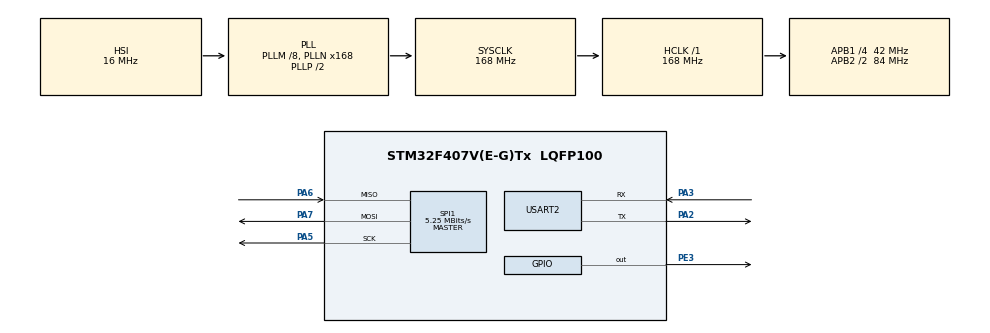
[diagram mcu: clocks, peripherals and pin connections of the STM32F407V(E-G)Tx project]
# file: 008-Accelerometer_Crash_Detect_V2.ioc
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Mcu.Family=STM32F4
Mcu.Name=STM32F407V(E-G)Tx
Mcu.Package=LQFP100
NVIC.PriorityGroup=NVIC_PRIORITYGROUP_0
PA2.Mode=Asynchronous
PA2.Signal=USART2_TX
PA3.Mode=Asynchronous
PA3.Signal=USART2_RX
PA5.Mode=Full_Duplex_Master
PA5.Signal=SPI1_SCK
PA6.Mode=Full_Duplex_Master
PA6.Signal=SPI1_MISO
PA7.Mode=Full_Duplex_Master
PA7.Signal=SPI1_MOSI
PE3.Signal=GPIO_Output
ProjectManager.HeapSize=0x200
ProjectManager.StackSize=0x400
ProjectManager.TargetToolchain=STM32CubeIDE
RCC.48MHZClocksFreq_Value=48000000
RCC.AHBFreq_Value=168000000
RCC.APB1CLKDivider=RCC_HCLK_DIV4
RCC.APB1Freq_Value=42000000
RCC.APB1TimFreq_Value=84000000
RCC.APB2CLKDivider=RCC_HCLK_DIV2
RCC.APB2Freq_Value=84000000
RCC.APB2TimFreq_Value=168000000
RCC.CortexFreq_Value=168000000
RCC.HCLKFreq_Value=168000000
RCC.HSE_VALUE=8000000
RCC.HSI_VALUE=16000000
RCC.PLLM=8
RCC.PLLN=168
RCC.PLLQ=7
RCC.SYSCLKFreq_VALUE=168000000
RCC.SYSCLKSource=RCC_SYSCLKSOURCE_PLLCLK
RCC.VCOOutputFreq_Value=336000000
SPI1.BaudRatePrescaler=SPI_BAUDRATEPRESCALER_16
SPI1.CLKPhase=SPI_PHASE_2EDGE
SPI1.CLKPolarity=SPI_POLARITY_HIGH
SPI1.CalculateBaudRate=5.25 MBits/s
SPI1.Direction=SPI_DIRECTION_2LINES
SPI1.Mode=SPI_MODE_MASTER
SPI1.VirtualType=VM_MASTER
USART2.VirtualMode=VM_ASYNC
board=STM32F407G-DISC1

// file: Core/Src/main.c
/* USER CODE BEGIN Header */
/**
  ******************************************************************************
  * @file           : main.c
  * @brief          : Main program body
  ******************************************************************************
  * @attention
  *
  * Copyright (c) 2025 STMicroelectronics.
  * All rights reserved.
  *
  * This software is licensed under terms that can be found in the LICENSE file
  * in the root directory of this software component.
  * If no LICENSE file comes with this software, it is provided AS-IS.
  *
  ******************************************************************************
  */
/* USER CODE END Header */
#include "main.h"

/* USER CODE BEGIN Includes */
#include<stdio.h>
#include<string.h>
#include<math.h>
/* USER CODE END Includes */

/* USER CODE BEGIN PTD */
#define ACC_CS_PORT GPIOE
#define ACC_CS_PIN  GPIO_PIN_3
#define LIS3DSH_WHO_AM_I_ADDR   0x0F
#define LIS3DSH_CTRL_REG4   0x20
#define LIS3DSH_OUT_X       0x29
#define LIS3DSH_OUT_Y       0x2B
#define LIS3DSH_OUT_Z       0x2D
#define LIS3DSH_SENS_2G   0.018f  // g per LSB
#define CRASH_THRESHOLD 1.5f   // 1.5 g threshold
#define BUZZER_PORT GPIOD
#define BUZZER_PIN  GPIO_PIN_12   // or whichever pin your buzzer/LED is connected

/* USER CODE END PTD */

SPI_HandleTypeDef hspi1;

UART_HandleTypeDef huart2;

void SystemClock_Config(void);
static void MX_GPIO_Init(void);
static void MX_SPI1_Init(void);
static void MX_USART2_UART_Init(void);

/* USER CODE BEGIN 0 */
void ACC_CS_LOW(void)  { HAL_GPIO_WritePin(ACC_CS_PORT, ACC_CS_PIN, GPIO_PIN_RESET); }
void ACC_CS_HIGH(void) { HAL_GPIO_WritePin(ACC_CS_PORT, ACC_CS_PIN, GPIO_PIN_SET); }

uint8_t SPI_Read(uint8_t reg) {
    uint8_t tx[2], rx[2];
    tx[0] = reg | 0x80;  // read
    tx[1] = 0x00;
    ACC_CS_LOW();
    HAL_SPI_TransmitReceive(&hspi1, tx, rx, 2, HAL_MAX_DELAY);
    ACC_CS_HIGH();
    return rx[1];
}

void SPI_Write(uint8_t reg, uint8_t data) {
    uint8_t tx[2];
    tx[0] = reg & 0x7F;  // write
    tx[1] = data;
    ACC_CS_LOW();
    HAL_SPI_Transmit(&hspi1, tx, 2, HAL_MAX_DELAY);
    ACC_CS_HIGH();
}

void Accelerometer_Init(void) {
    SPI_Write(LIS3DSH_CTRL_REG4, 0x67);
}

void Accelerometer_ReadAxes(int8_t *x, int8_t *y, int8_t *z) {
    *x = (int8_t)SPI_Read(LIS3DSH_OUT_X);
    *y = (int8_t)SPI_Read(LIS3DSH_OUT_Y);
    *z = (int8_t)SPI_Read(LIS3DSH_OUT_Z);
}

void Accelerometer_ReadAxes_g(float *xg, float *yg, float *zg) {
    int8_t x = (int8_t)SPI_Read(LIS3DSH_OUT_X);
    int8_t y = (int8_t)SPI_Read(LIS3DSH_OUT_Y);
    int8_t z = (int8_t)SPI_Read(LIS3DSH_OUT_Z);

    *xg = x * LIS3DSH_SENS_2G;
    *yg = y * LIS3DSH_SENS_2G;
    *zg = z * LIS3DSH_SENS_2G;
}

/* USER CODE END 0 */

int main(void)
{

  /* MCU Configuration--------------------------------------------------------*/

  /* Reset of all peripherals, Initializes the Flash interface and the Systick. */
  HAL_Init();

  /* Configure the system clock */
  SystemClock_Config();

  /* Initialize all configured peripherals */
  MX_GPIO_Init();
  MX_SPI1_Init();
  MX_USART2_UART_Init();
  /* USER CODE BEGIN 2 */
  char msg[64];
  uint8_t whoami;

  whoami = SPI_Read(LIS3DSH_WHO_AM_I_ADDR);
  sprintf(msg, "WHO_AM_I = 0x%02X\r\n", whoami);
  HAL_UART_Transmit(&huart2, (uint8_t*)msg, strlen(msg), HAL_MAX_DELAY);

  if (whoami == 0x3F) {
      sprintf(msg, "Detected: LIS3DSH Accelerometer\r\n");
  } else if (whoami == 0x3B) {
      sprintf(msg, "Detected: LIS302DL Accelerometer\r\n");
  } else {
      sprintf(msg, "Accelerometer not detected!\r\n");
  }
  HAL_UART_Transmit(&huart2, (uint8_t*)msg, strlen(msg), HAL_MAX_DELAY);

  int8_t x, y, z;
  float xg, yg, zg;

  /* USER CODE END 2 */

  /* Infinite loop */
  /* USER CODE BEGIN WHILE */
  while (1)
  {
	    Accelerometer_ReadAxes(&x, &y, &z);
	    Accelerometer_ReadAxes_g(&xg, &yg, &zg);

	    sprintf(msg, "X=%.2fg, Y=%.2fg, Z=%.2fg\r\n", xg, yg, zg);
	    HAL_UART_Transmit(&huart2, (uint8_t*)msg, strlen(msg), HAL_MAX_DELAY);

	    // Crash detection
	    if (fabs(xg) > CRASH_THRESHOLD || fabs(yg) > CRASH_THRESHOLD) {
	        HAL_GPIO_WritePin(BUZZER_PORT, BUZZER_PIN, GPIO_PIN_SET);   // buzzer ON
	        sprintf(msg, "CRASH DETECTED!\r\n");
	        HAL_UART_Transmit(&huart2, (uint8_t*)msg, strlen(msg), HAL_MAX_DELAY);
	    } else {
	        HAL_GPIO_WritePin(BUZZER_PORT, BUZZER_PIN, GPIO_PIN_RESET); // buzzer OFF
	    }

	    HAL_Delay(200);

    /* USER CODE END WHILE */

  }
}

void SystemClock_Config(void)
{
  RCC_OscInitTypeDef RCC_OscInitStruct = {0};
  RCC_ClkInitTypeDef RCC_ClkInitStruct = {0};

  /** Configure the main internal regulator output voltage
  */
  __HAL_RCC_PWR_CLK_ENABLE();
  __HAL_PWR_VOLTAGESCALING_CONFIG(PWR_REGULATOR_VOLTAGE_SCALE1);

  /** Initializes the RCC Oscillators according to the specified parameters
  * in the RCC_OscInitTypeDef structure.
  */
  RCC_OscInitStruct.OscillatorType = RCC_OSCILLATORTYPE_HSI;
  RCC_OscInitStruct.HSIState = RCC_HSI_ON;
  RCC_OscInitStruct.HSICalibrationValue = RCC_HSICALIBRATION_DEFAULT;
  RCC_OscInitStruct.PLL.PLLState = RCC_PLL_ON;
  RCC_OscInitStruct.PLL.PLLSource = RCC_PLLSOURCE_HSI;
  RCC_OscInitStruct.PLL.PLLM = 8;
  RCC_OscInitStruct.PLL.PLLN = 168;
  RCC_OscInitStruct.PLL.PLLP = RCC_PLLP_DIV2;
  RCC_OscInitStruct.PLL.PLLQ = 7;
  if (HAL_RCC_OscConfig(&RCC_OscInitStruct) != HAL_OK)
  {
    Error_Handler();
  }

  /** Initializes the CPU, AHB and APB buses clocks
  */
  RCC_ClkInitStruct.ClockType = RCC_CLOCKTYPE_HCLK|RCC_CLOCKTYPE_SYSCLK
                              |RCC_CLOCKTYPE_PCLK1|RCC_CLOCKTYPE_PCLK2;
  RCC_ClkInitStruct.SYSCLKSource = RCC_SYSCLKSOURCE_PLLCLK;
  RCC_ClkInitStruct.AHBCLKDivider = RCC_SYSCLK_DIV1;
  RCC_ClkInitStruct.APB1CLKDivider = RCC_HCLK_DIV4;
  RCC_ClkInitStruct.APB2CLKDivider = RCC_HCLK_DIV2;

  if (HAL_RCC_ClockConfig(&RCC_ClkInitStruct, FLASH_LATENCY_5) != HAL_OK)
  {
    Error_Handler();
  }
}

static void MX_SPI1_Init(void)
{

  /* SPI1 parameter configuration*/
  hspi1.Instance = SPI1;
  hspi1.Init.Mode = SPI_MODE_MASTER;
  hspi1.Init.Direction = SPI_DIRECTION_2LINES;
  hspi1.Init.DataSize = SPI_DATASIZE_8BIT;
  hspi1.Init.CLKPolarity = SPI_POLARITY_HIGH;
  hspi1.Init.CLKPhase = SPI_PHASE_2EDGE;
  hspi1.Init.NSS = SPI_NSS_SOFT;
  hspi1.Init.BaudRatePrescaler = SPI_BAUDRATEPRESCALER_16;
  hspi1.Init.FirstBit = SPI_FIRSTBIT_MSB;
  hspi1.Init.TIMode = SPI_TIMODE_DISABLE;
  hspi1.Init.CRCCalculation = SPI_CRCCALCULATION_DISABLE;
  hspi1.Init.CRCPolynomial = 10;
  if (HAL_SPI_Init(&hspi1) != HAL_OK)
  {
    Error_Handler();
  }

}

static void MX_USART2_UART_Init(void)
{

  huart2.Instance = USART2;
  huart2.Init.BaudRate = 115200;
  huart2.Init.WordLength = UART_WORDLENGTH_8B;
  huart2.Init.StopBits = UART_STOPBITS_1;
  huart2.Init.Parity = UART_PARITY_NONE;
  huart2.Init.Mode = UART_MODE_TX_RX;
  huart2.Init.HwFlowCtl = UART_HWCONTROL_NONE;
  huart2.Init.OverSampling = UART_OVERSAMPLING_16;
  if (HAL_UART_Init(&huart2) != HAL_OK)
  {
    Error_Handler();
  }

}

static void MX_GPIO_Init(void)
{
  GPIO_InitTypeDef GPIO_InitStruct = {0};

  /* GPIO Ports Clock Enable */
  __HAL_RCC_GPIOE_CLK_ENABLE();
  __HAL_RCC_GPIOA_CLK_ENABLE();

  /*Configure GPIO pin Output Level */
  HAL_GPIO_WritePin(GPIOE, GPIO_PIN_3, GPIO_PIN_RESET);

  /*Configure GPIO pin : PE3 */
  GPIO_InitStruct.Pin = GPIO_PIN_3;
  GPIO_InitStruct.Mode = GPIO_MODE_OUTPUT_PP;
  GPIO_InitStruct.Pull = GPIO_NOPULL;
  GPIO_InitStruct.Speed = GPIO_SPEED_FREQ_LOW;
  HAL_GPIO_Init(GPIOE, &GPIO_InitStruct);

}

void Error_Handler(void)
{
  __disable_irq();
  while (1)
  {
  }
}
